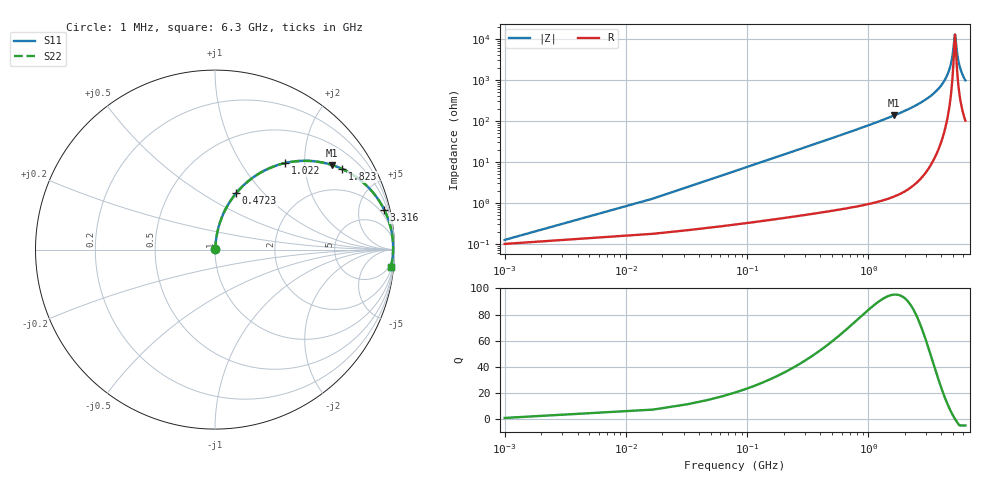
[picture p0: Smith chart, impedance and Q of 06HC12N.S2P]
! Coilcraft 0603HC-12N Chip Inductor
! 03 June 2002
# MHZ S MA R 50
!Freq  MagS11  AngS11  MagS21  AngS21  MagS12  AngS12  MagS22  AngS22
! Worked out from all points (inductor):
!   402 points, 1 MHz to 6.3 GHz, reference 50 ohm
!   read as one part in series: L = 12 nH near 32.42 MHz
!   highest Q = 95.3 at 1.635 GHz (marker M1), where L = 13.3 nH
!   self-resonance near 5.17 GHz
!   S11 on the Smith chart (normalised r, x): 1 MHz: 1.00, +0.00; 472.3 MHz: 1.01, +0.72; 1.022 GHz: 1.02, +1.60; 1.823 GHz: 1.03, +3.14; 3.316 GHz: 1.18, +8.49; 6.3 GHz: 3, -19
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1  0.00125 37.0  0.999 -0.0  0.999 -0.0  0.00125 37.0
48.13  0.03626 84.0  0.9969 -2.1  0.9969 -2.1  0.03626 84.0
79.55  0.05978 83.7  0.9953 -3.4  0.9953 -3.4  0.05978 83.7
110.97  0.08321 82.9  0.9932 -4.8  0.9932 -4.8  0.08321 82.9
252.36  0.1866 77.8  0.9778 -10.7  0.9778 -10.7  0.1866 77.8
472.3  0.3362 69.4  0.936 -19.6  0.936 -19.6  0.3362 69.4
1022.15  0.6221 50.9  0.7756 -38.5  0.7756 -38.5  0.6221 50.9
1053.57  0.6345 49.9  0.7655 -39.4  0.7655 -39.4  0.6345 49.9
1634.84  0.8036 35.9  0.5867 -53.5  0.5867 -53.5  0.8036 35.9
1823.36  0.8395 32.3  0.5346 -57.1  0.5346 -57.1  0.8395 32.3
2106.14  0.8813 27.6  0.4629 -61.8  0.4629 -61.8  0.8813 27.6
3158.71  0.9626 14.7  0.2533 -74.2  0.2533 -74.2  0.9626 14.7
3315.81  0.9688 13.2  0.2281 -75.6  0.2281 -75.6  0.9688 13.2
4211.28  0.9886 6.0  0.1049 -80.8  0.1049 -80.8  0.9886 6.0
4808.26  0.9924 2.1  0.03766 -77.2  0.03766 -77.2  0.9924 2.1
4965.36  0.9925 1.2  0.02187 -69.4  0.02187 -69.4  0.9925 1.2
5153.88  0.9923 0.1  0.007839 -12.2  0.007839 -12.2  0.9923 0.1
5201.01  0.9922 -0.2  0.00831 20.7  0.00831 20.7  0.9922 -0.2
5263.85  0.9921 -0.5  0.01203 48.4  0.01203 48.4  0.9921 -0.5
5420.95  0.9915 -1.4  0.0254 69.7  0.0254 69.7  0.9915 -1.4
5625.18  0.9903 -2.5  0.04369 76.0  0.04369 76.0  0.9903 -2.5
6300  0.9845 -5.8  0.1009 78.3  0.1009 78.3  0.9845 -5.8
